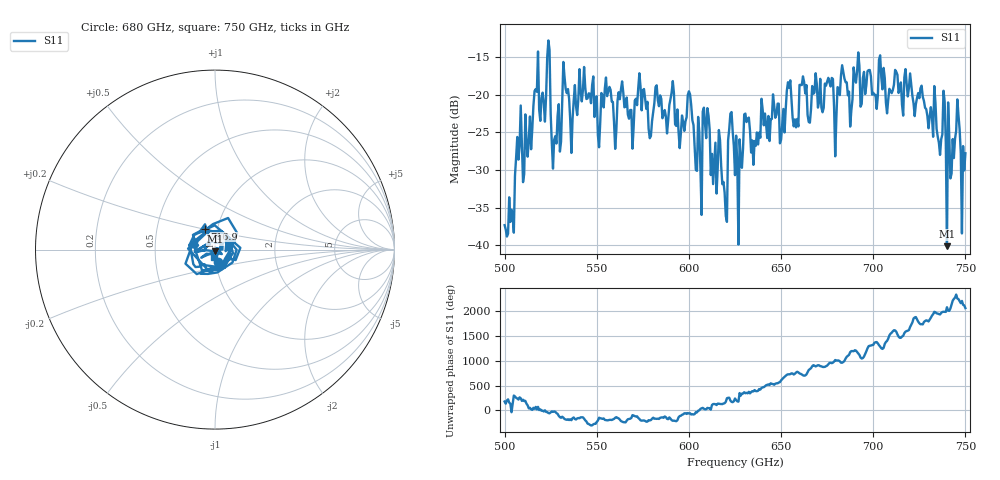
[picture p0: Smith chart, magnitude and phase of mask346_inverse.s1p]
!Created with skrf (http://scikit-rf.org).
# GHz S MA R 50.0
!freq magS11 angS11
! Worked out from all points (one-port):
!   401 points, 500 GHz to 750 GHz, reference 50 ohm
!   lowest |S11| = -40.1 dB at 740 GHz (marker M1), VSWR 1.02, Z = 50.1 - j0.979 ohm
!   |S11| at or under -10 dB: start of sweep to end of sweep
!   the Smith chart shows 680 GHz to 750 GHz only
!   S11 on the Smith chart (normalised r, x): 680 GHz: 1.03, -0.14; 716.9 GHz: 0.87, +0.21; 750 GHz: 0.98, -0.08
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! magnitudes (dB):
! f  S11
! 500 GHz  -37.3
! 516.9 GHz  -19.3
! 520.6 GHz  -19.7
! 523.8 GHz  -12.8
! 526.9 GHz  -26.0
! 531.2 GHz  -21.0
! 562.5 GHz  -20.6
! 579.4 GHz  -25.5
! 590.6 GHz  -19.7
! 593.8 GHz  -22.0
! 600.6 GHz  -20.0
! 605.6 GHz  -24.9
! 609.4 GHz  -25.8
! 619.4 GHz  -33.0
! 622.5 GHz  -22.5
! 625 GHz  -30.7
! 627.5 GHz  -25.9
! 656.2 GHz  -23.0
! 676.9 GHz  -18.9
! 680 GHz  -23.0
! 683.8 GHz  -17.0
! 687.5 GHz  -24.2
! 690.6 GHz  -18.4
! 716.9 GHz  -17.7
! 718.8 GHz  -20.2
! 740 GHz  -40.1
! 745.6 GHz  -20.6
! 750 GHz  -27.8
